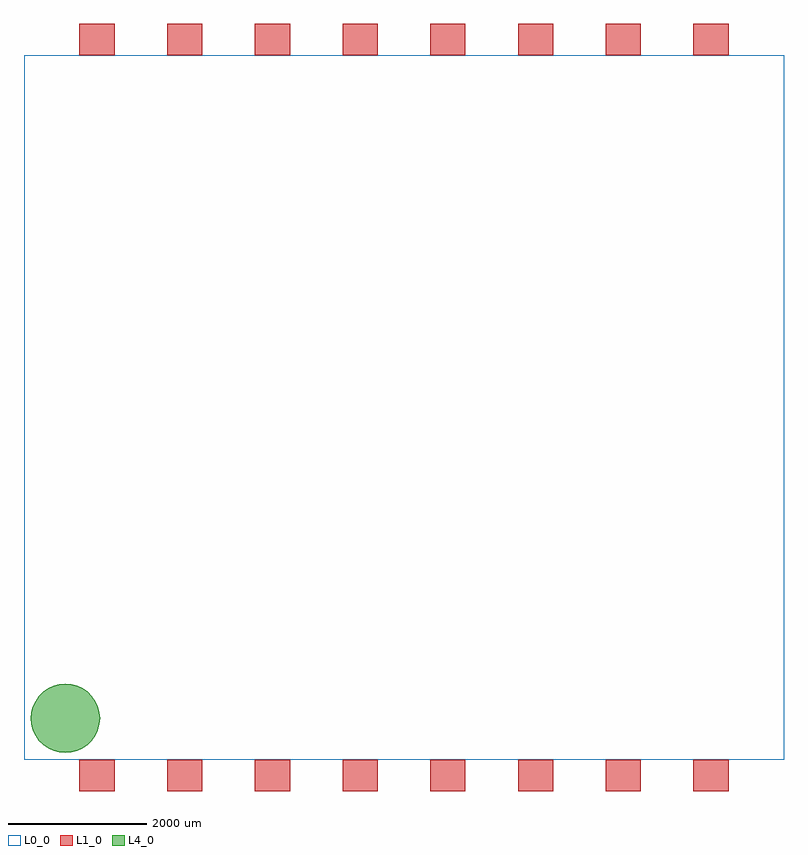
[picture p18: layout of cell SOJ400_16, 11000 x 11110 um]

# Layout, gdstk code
import gdstk
lib = gdstk.Library(unit=1e-6, precision=1e-09)
def R(c, l, rs):  # rectangles x0, y0, x1, y1
    for r in rs: c.add(gdstk.rectangle(r[:2], r[2:], *l))
def A(c, l, x, y, w, h, nx, ny, dx, dy):  # array of equal rectangles
    R(c, l, [(x+i*dx, y+j*dy, x+i*dx+w, y+j*dy+h) for i in range(nx) for j in range(ny)])
def P(c, l, *ps):  # polygons
    for p in ps: c.add(gdstk.Polygon(p, *l))
L0_0 = (0, 0)
L1_0 = (1, 0)
L4_0 = (4, 0)
L99_1 = (99, 1)
L99_2 = (99, 2)
L99_3 = (99, 3)
L99_4 = (99, 4)
L99_5 = (99, 5)
L99_6 = (99, 6)
L99_7 = (99, 7)
L99_8 = (99, 8)
L99_9 = (99, 9)
L99_10 = (99, 10)
L99_11 = (99, 11)
L99_12 = (99, 12)
L99_13 = (99, 13)
L99_14 = (99, 14)
L99_15 = (99, 15)
L99_16 = (99, 16)

soj400_16 = lib.new_cell('SOJ400_16')
R(soj400_16, L0_0, [(0,0,11000,10200)])
A(soj400_16, L1_0, 800, -455, 510, 455, 8, 2, 1270, 10655)
P(soj400_16, L4_0, [(1100,600),(1092.404,513.176),(1069.846,428.99),(1033.013,350),(983.022,278.606),(921.394,216.978),(850,166.987),(771.01,130.154),(686.824,107.596),(600,100),(513.176,107.596),(428.99,130.154),(350,166.987),(278.606,216.978),(216.978,278.606),(166.987,350),(130.154,428.99),(107.596,513.176),(100,600),(107.596,686.824),(130.154,771.01),(166.987,850),(216.978,921.394),(278.606,983.022),(350,1033.013),(428.99,1069.846),(513.176,1092.404),(600,1100),(686.824,1092.404),(771.01,1069.846),(850,1033.013),(921.394,983.022),(983.022,921.394),(1033.013,850),(1069.846,771.01),(1092.404,686.824)])
soj400_16.add(gdstk.FlexPath([(1310,0),(800,0)], 0, ends="round", simple_path=True, layer=99, datatype=1))  # L99_1
soj400_16.add(gdstk.FlexPath([(2580,0),(2070,0)], 0, ends="round", simple_path=True, layer=99, datatype=2))  # L99_2
soj400_16.add(gdstk.FlexPath([(3850,0),(3340,0)], 0, ends="round", simple_path=True, layer=99, datatype=3))  # L99_3
soj400_16.add(gdstk.FlexPath([(5120,0),(4610,0)], 0, ends="round", simple_path=True, layer=99, datatype=4))  # L99_4
soj400_16.add(gdstk.FlexPath([(6390,0),(5880,0)], 0, ends="round", simple_path=True, layer=99, datatype=5))  # L99_5
soj400_16.add(gdstk.FlexPath([(7660,0),(7150,0)], 0, ends="round", simple_path=True, layer=99, datatype=6))  # L99_6
soj400_16.add(gdstk.FlexPath([(8930,0),(8420,0)], 0, ends="round", simple_path=True, layer=99, datatype=7))  # L99_7
soj400_16.add(gdstk.FlexPath([(10200,0),(9690,0)], 0, ends="round", simple_path=True, layer=99, datatype=8))  # L99_8
soj400_16.add(gdstk.FlexPath([(800,10200),(1310,10200)], 0, ends="round", simple_path=True, layer=99, datatype=16))  # L99_16
soj400_16.add(gdstk.FlexPath([(2070,10200),(2580,10200)], 0, ends="round", simple_path=True, layer=99, datatype=15))  # L99_15
soj400_16.add(gdstk.FlexPath([(3340,10200),(3850,10200)], 0, ends="round", simple_path=True, layer=99, datatype=14))  # L99_14
soj400_16.add(gdstk.FlexPath([(4610,10200),(5120,10200)], 0, ends="round", simple_path=True, layer=99, datatype=13))  # L99_13
soj400_16.add(gdstk.FlexPath([(5880,10200),(6390,10200)], 0, ends="round", simple_path=True, layer=99, datatype=12))  # L99_12
soj400_16.add(gdstk.FlexPath([(7150,10200),(7660,10200)], 0, ends="round", simple_path=True, layer=99, datatype=11))  # L99_11
soj400_16.add(gdstk.FlexPath([(8420,10200),(8930,10200)], 0, ends="round", simple_path=True, layer=99, datatype=10))  # L99_10
soj400_16.add(gdstk.FlexPath([(9690,10200),(10200,10200)], 0, ends="round", simple_path=True, layer=99, datatype=9))  # L99_9

lib.write_gds('SOJ400_16.gds')
